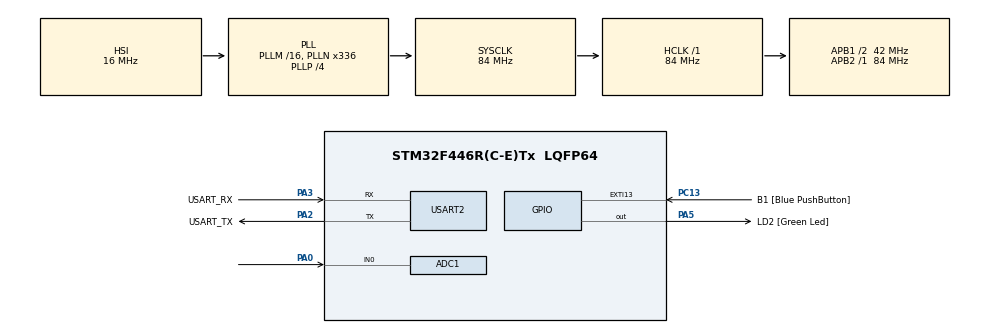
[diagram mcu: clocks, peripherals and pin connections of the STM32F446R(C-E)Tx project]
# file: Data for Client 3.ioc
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ADC1.Channel-0\#ChannelRegularConversion=ADC_CHANNEL_0
ADC1.ContinuousConvMode=DISABLE
ADC1.DMAContinuousRequests=ENABLE
ADC1.ExternalTrigConv=ADC_EXTERNALTRIGCONV_T2_TRGO
ADC1.NbrOfConversionFlag=1
ADC1.Rank-0\#ChannelRegularConversion=1
ADC1.Resolution=ADC_RESOLUTION_10B
ADC1.SamplingTime-0\#ChannelRegularConversion=ADC_SAMPLETIME_3CYCLES
ADC1.ScanConvMode=ENABLE
ADC1.master=1
Dma.ADC1.0.Direction=DMA_PERIPH_TO_MEMORY
Dma.ADC1.0.FIFOMode=DMA_FIFOMODE_DISABLE
Dma.ADC1.0.Instance=DMA2_Stream0
Dma.ADC1.0.MemDataAlignment=DMA_MDATAALIGN_HALFWORD
Dma.ADC1.0.MemInc=DMA_MINC_ENABLE
Dma.ADC1.0.Mode=DMA_NORMAL
Dma.ADC1.0.PeriphDataAlignment=DMA_PDATAALIGN_HALFWORD
Dma.ADC1.0.PeriphInc=DMA_PINC_DISABLE
Dma.ADC1.0.Priority=DMA_PRIORITY_LOW
Dma.Request0=ADC1
Mcu.Family=STM32F4
Mcu.Name=STM32F446R(C-E)Tx
Mcu.Package=LQFP64
NVIC.DMA2_Stream0_IRQn=true\:0\:0\:false\:false\:true\:false\:true
NVIC.PriorityGroup=NVIC_PRIORITYGROUP_0
NVIC.TIM1_UP_TIM10_IRQn=true\:0\:0\:false\:false\:true\:true\:true
PA0-WKUP.Signal=ADCx_IN0
PA13.GPIO_Label=TMS
PA13.Mode=Serial_Wire
PA13.Signal=SYS_JTMS-SWDIO
PA14.GPIO_Label=TCK
PA14.Mode=Serial_Wire
PA14.Signal=SYS_JTCK-SWCLK
PA2.GPIO_Label=USART_TX
PA2.Mode=Asynchronous
PA2.Signal=USART2_TX
PA3.GPIO_Label=USART_RX
PA3.Mode=Asynchronous
PA3.Signal=USART2_RX
PA5.GPIO_Label=LD2 [Green Led]
PA5.Signal=GPIO_Output
PB3.GPIO_Label=SWO
PB3.Signal=SYS_JTDO-SWO
PC13.GPIO_Label=B1 [Blue PushButton]
PC13.GPIO_ModeDefaultEXTI=GPIO_MODE_IT_FALLING
PC13.Signal=GPXTI13
PC14-OSC32_IN.Mode=LSE-External-Oscillator
PC14-OSC32_IN.Signal=RCC_OSC32_IN
PC15-OSC32_OUT.Mode=LSE-External-Oscillator
PC15-OSC32_OUT.Signal=RCC_OSC32_OUT
PH0-OSC_IN.Mode=HSE-External-Oscillator
PH0-OSC_IN.Signal=RCC_OSC_IN
PH1-OSC_OUT.Mode=HSE-External-Oscillator
PH1-OSC_OUT.Signal=RCC_OSC_OUT
ProjectManager.HeapSize=0x200
ProjectManager.StackSize=0x400
ProjectManager.TargetToolchain=TrueSTUDIO
RCC.48MHZClocksFreq_Value=84000000
RCC.AHBFreq_Value=84000000
RCC.APB1CLKDivider=RCC_HCLK_DIV2
RCC.APB1Freq_Value=42000000
RCC.APB1TimFreq_Value=84000000
RCC.APB2Freq_Value=84000000
RCC.APB2TimFreq_Value=84000000
RCC.CortexFreq_Value=84000000
RCC.FLatency-AdvancedSettings=FLASH_LATENCY_2
RCC.HCLKFreq_Value=84000000
RCC.HSE_VALUE=8000000
RCC.HSI_VALUE=16000000
RCC.PLLN=336
RCC.PLLP=RCC_PLLP_DIV4
RCC.SYSCLKFreq_VALUE=84000000
RCC.SYSCLKSource=RCC_SYSCLKSOURCE_PLLCLK
RCC.USBFreq_Value=168000000
RCC.VCOOutputFreq_Value=336000000
SH.ADCx_IN0.0=ADC1_IN0,IN0
TIM10.Period=3999
TIM10.Prescaler=20999
TIM2.Period=399
TIM2.Prescaler=2999
TIM2.TIM_MasterOutputTrigger=TIM_TRGO_UPDATE
USART2.VirtualMode=VM_ASYNC
VP_TIM10_VS_ClockSourceINT.Mode=Enable_Timer
VP_TIM2_VS_ClockSourceINT.Mode=Internal
board=NUCLEO-F446RE

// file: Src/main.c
/* USER CODE BEGIN Header */
/**
  ******************************************************************************
  * @file           : main.c
  * @brief          : Water tank level simulator
  ******************************************************************************
  * @attention
  *
  * <h2><center>&copy; Copyright (c) 2019 STMicroelectronics.
  * All rights reserved.</center></h2>
  *
  * This software component is licensed by ST under BSD 3-Clause license,
  * the "License"; You may not use this file except in compliance with the
  * License. You may obtain a copy of the License at:
  *                        opensource.org/licenses/BSD-3-Clause
  *
  ******************************************************************************
  */
/* USER CODE END Header */

#include "main.h"
#include "adc.h"
#include "dma.h"
#include "tim.h"
#include "usart.h"
#include "gpio.h"

/* USER CODE BEGIN PV */
uint16_t water_level;			/*!<Used to simulate a value for the water tank level*/
uint16_t ValueCH1; 				/*!<Takes the ADC channel 1 value and use it to set the water_level*/
int amount_of_water=0;			/*!<Used to convert the value of ADC channel 1 to the amount of water we have on the water tank*/
int timer=0;					/*!Counter that makes the program wait 15 seconds before transmit the data*/
int a=0;

/* USER CODE END PV */

void SystemClock_Config(void);

int main(void)
{

  /* MCU Configuration--------------------------------------------------------*/

  /* Reset of all peripherals, Initializes the Flash interface and the Systick. */
  HAL_Init();

  /* Configure the system clock */
  SystemClock_Config();

  /* Initialize all configured peripherals */
  MX_GPIO_Init();
  MX_DMA_Init();
  MX_ADC1_Init();
  MX_TIM2_Init();
  MX_TIM10_Init();
  MX_USART2_UART_Init();

  /* Infinite loop */
  /* USER CODE BEGIN WHILE */
  while (1)
  {
	  a++;
	  if (timer==15)
	  {
		  HAL_UART_Transmit(&huart2, amount_of_water, 1, 10);
		  timer=0;
	  }
    /* USER CODE END WHILE */

  }
}

void SystemClock_Config(void)
{
  RCC_OscInitTypeDef RCC_OscInitStruct = {0};
  RCC_ClkInitTypeDef RCC_ClkInitStruct = {0};

  /** Configure the main internal regulator output voltage
  */
  __HAL_RCC_PWR_CLK_ENABLE();
  __HAL_PWR_VOLTAGESCALING_CONFIG(PWR_REGULATOR_VOLTAGE_SCALE3);
  /** Initializes the CPU, AHB and APB busses clocks
  */
  RCC_OscInitStruct.OscillatorType = RCC_OSCILLATORTYPE_HSI;
  RCC_OscInitStruct.HSIState = RCC_HSI_ON;
  RCC_OscInitStruct.HSICalibrationValue = RCC_HSICALIBRATION_DEFAULT;
  RCC_OscInitStruct.PLL.PLLState = RCC_PLL_ON;
  RCC_OscInitStruct.PLL.PLLSource = RCC_PLLSOURCE_HSI;
  RCC_OscInitStruct.PLL.PLLM = 16;
  RCC_OscInitStruct.PLL.PLLN = 336;
  RCC_OscInitStruct.PLL.PLLP = RCC_PLLP_DIV4;
  RCC_OscInitStruct.PLL.PLLQ = 2;
  RCC_OscInitStruct.PLL.PLLR = 2;
  if (HAL_RCC_OscConfig(&RCC_OscInitStruct) != HAL_OK)
  {
    Error_Handler();
  }
  /** Initializes the CPU, AHB and APB busses clocks
  */
  RCC_ClkInitStruct.ClockType = RCC_CLOCKTYPE_HCLK|RCC_CLOCKTYPE_SYSCLK
                              |RCC_CLOCKTYPE_PCLK1|RCC_CLOCKTYPE_PCLK2;
  RCC_ClkInitStruct.SYSCLKSource = RCC_SYSCLKSOURCE_PLLCLK;
  RCC_ClkInitStruct.AHBCLKDivider = RCC_SYSCLK_DIV1;
  RCC_ClkInitStruct.APB1CLKDivider = RCC_HCLK_DIV2;
  RCC_ClkInitStruct.APB2CLKDivider = RCC_HCLK_DIV1;

  if (HAL_RCC_ClockConfig(&RCC_ClkInitStruct, FLASH_LATENCY_2) != HAL_OK)
  {
    Error_Handler();
  }
}

/* USER CODE BEGIN 4 */
/*! @brief Recive the ADC datas through the DMA.
 *
 * @param 'hadc' Witch ADC have to execute the command.
 *
 * @brief Give a value from ADC Channel 1 to a variable so that the value can be processed:
 * @code
 * ValueCH1=water_level[0];
 * @endcode
 *
 * @brief Make the conversion from the ADC value to the amount of water in the water tank:
 * @code
 * amount_of_water=((45*water_level)/1023);
 * @endcode
 *
 * @brief The function restart the interruption on ADC so it can take new values from ADC:
 * @code
 * HAL_ADC_Start_DMA(&hadc1, amostras, 2);
 * @endcode
 * */
void HAL_ADC_ConvCpltCallback(ADC_HandleTypeDef* hadc)
{
	ValueCH1=water_level;
	amount_of_water=(((45*water_level)/1023)*1000);

	HAL_ADC_Start_DMA(&hadc1, water_level, 1);
}

/*! @brief Recive the ADC datas through the DMA.
 *
 * @param 'htim' Witch timer have to execute the command.
 *
 * @brief The function clear the flag that indicates that the timer ESTOUROU:
 * @code
 * __HAL_TIM_CLEAR_FLAG(&htim10, TIM_FLAG_UPDATE);
 * @endcode
 * */
void HAL_TIM_PeriodElapsedCallback(TIM_HandleTypeDef *htim)
{
	if (htim->Instance==TIM10)
	{
		timer++;
		__HAL_TIM_CLEAR_FLAG(&htim10, TIM_FLAG_UPDATE);
	}
}

/* USER CODE END 4 */

void Error_Handler(void)
{
}

/************************ (C) COPYRIGHT STMicroelectronics *****END OF FILE****/
